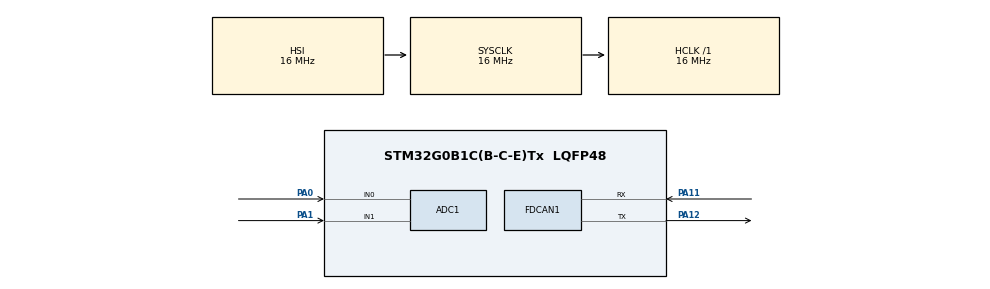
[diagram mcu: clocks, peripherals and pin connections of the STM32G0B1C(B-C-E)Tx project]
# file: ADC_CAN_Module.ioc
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ADC1.Channel-0\#ChannelRegularConversion=ADC_CHANNEL_0
ADC1.Channel-1\#ChannelRegularConversion=ADC_CHANNEL_1
ADC1.NbrOfConversion=2
ADC1.NbrOfConversionFlag=1
ADC1.Rank-0\#ChannelRegularConversion=1
ADC1.Rank-1\#ChannelRegularConversion=2
ADC1.SamplingTime-0\#ChannelRegularConversion=ADC_SAMPLINGTIME_COMMON_1
ADC1.SamplingTime-1\#ChannelRegularConversion=ADC_SAMPLINGTIME_COMMON_1
ADC1.SamplingTimeCommon1=ADC_SAMPLETIME_160CYCLES_5
ADC1.SamplingTimeCommon2=ADC_SAMPLETIME_160CYCLES_5
ADC1.SelectedChannel=ADC_CHANNEL_0|ADC_CHANNEL_1
ADC1.master=1
FDCAN1.CalculateBaudRateNominal=1000000
FDCAN1.CalculateTimeBitNominal=1000
FDCAN1.CalculateTimeQuantumNominal=62.5
FDCAN1.NominalPrescaler=1
FDCAN1.NominalTimeSeg1=11
FDCAN1.NominalTimeSeg2=4
FDCAN1.StdFiltersNbr=1
Mcu.Family=STM32G0
Mcu.Name=STM32G0B1C(B-C-E)Tx
Mcu.Package=LQFP48
NVIC.ADC1_COMP_IRQn=true\:0\:0\:false\:false\:true\:true\:true\:true
PA0.Mode=IN0
PA0.Signal=ADC1_IN0
PA1.Mode=IN1
PA1.Signal=ADC1_IN1
PA11\ [PA9].Mode=FDCAN_Activate
PA11\ [PA9].Signal=FDCAN1_RX
PA12\ [PA10].Mode=FDCAN_Activate
PA12\ [PA10].Signal=FDCAN1_TX
ProjectManager.HeapSize=0x200
ProjectManager.StackSize=0x400
ProjectManager.TargetToolchain=STM32CubeIDE
RCC.AHBFreq_Value=16000000
RCC.CortexFreq_Value=16000000
RCC.EXTERNAL_CLOCK_VALUE=48000
RCC.HCLKFreq_Value=16000000
RCC.HSE_VALUE=8000000
RCC.HSI48_VALUE=48000000
RCC.HSI_VALUE=16000000
RCC.LSE_VALUE=32768
RCC.SYSCLKFreq_VALUE=16000000
RCC.USBFreq_Value=48000000
RCC.VCOOutputFreq_Value=128000000
VP_SYS_VS_DBSignals.Mode=DisableDeadBatterySignals
board=custom

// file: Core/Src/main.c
/* USER CODE BEGIN Header */
/**
  ******************************************************************************
  * @file           : main.c
  * @brief          : Main program body
  ******************************************************************************
  * @attention
  *
  * Copyright (c) 2026 STMicroelectronics.
  * All rights reserved.
  *
  * This software is licensed under terms that can be found in the LICENSE file
  * in the root directory of this software component.
  * If no LICENSE file comes with this software, it is provided AS-IS.
  *
  ******************************************************************************
  */
/* USER CODE END Header */
#include "main.h"
#include "adc.h"
#include "fdcan.h"
#include "gpio.h"

/* USER CODE BEGIN Includes */
#include <stdbool.h>
/* USER CODE END Includes */

void SystemClock_Config(void);

/* USER CODE BEGIN 0 */
//Vin = Vadc * (R1+R2)/R2
uint16_t converReadingsToDVoltage(uint32_t value){
	float digitalValue = 0;
	digitalValue = (value/4095.0f)* 3.3f * 5.7f;
	digitalValue *= 1000;
	return (uint16_t)digitalValue;

}

uint8_t getHighByte(uint16_t value){
	uint8_t byteHigh = 0;
	byteHigh = (value >> 8);
	return byteHigh;
}
uint8_t getLowByte(uint16_t value){
	uint8_t byteLow = 0;
	byteLow = (value & 0xFF);
	return byteLow;
}
/* USER CODE END 0 */

int main(void)
{

  /* MCU Configuration--------------------------------------------------------*/

  /* Reset of all peripherals, Initializes the Flash interface and the Systick. */
  HAL_Init();

  /* Configure the system clock */
  SystemClock_Config();

  /* Initialize all configured peripherals */
  MX_GPIO_Init();
  MX_ADC1_Init();
  MX_FDCAN1_Init();
  /* USER CODE BEGIN 2 */
  FDCAN_FilterTypeDef filter = {0};
  filter.IdType = FDCAN_STANDARD_ID;
  filter.FilterIndex = 0;
  filter.FilterType = FDCAN_FILTER_MASK;
  filter.FilterConfig = FDCAN_FILTER_TO_RXFIFO0;
  filter.FilterID1 = 0x000;
  filter.FilterID2 = 0x000;

  if(HAL_FDCAN_ConfigFilter(&hfdcan1, &filter) != HAL_OK){
	  Error_Handler();
  }
  HAL_StatusTypeDef status;
  status = HAL_FDCAN_Start(&hfdcan1);

  if(status != HAL_OK){
	  Error_Handler();
  }
  	uint32_t adc_raw1 = 0;
    uint32_t adc_raw2 = 0;
    int errorCounter = 0;
  /* USER CODE END 2 */

  /* Infinite loop */
  while (1)
  {

    /* USER CODE BEGIN 3 */
	  HAL_StatusTypeDef reading1 = HAL_ERROR;
	  HAL_StatusTypeDef reading2 = HAL_ERROR;
	  bool measurementsCorrect = false;
	  if(HAL_ADC_Start(&hadc1) == HAL_OK){
		  reading1 = HAL_ADC_PollForConversion(&hadc1, 10) ;
		  if(reading1 == HAL_OK){
			  adc_raw1 = HAL_ADC_GetValue(&hadc1);
		  }
		  reading2 = HAL_ADC_PollForConversion(&hadc1, 10);
		  if(reading2 == HAL_OK){
			  adc_raw2 = HAL_ADC_GetValue(&hadc1);
		  }
		  HAL_ADC_Stop(&hadc1);
		  if(reading1 == HAL_OK && reading2 == HAL_OK){
			  measurementsCorrect = true;
		  }
	  }

	  if(measurementsCorrect){
		  uint16_t adc_digital1 = converReadingsToDVoltage(adc_raw1);
		  uint16_t adc_digital2 = converReadingsToDVoltage(adc_raw2);

		  uint8_t byte_low1 = getLowByte(adc_digital1);
		  uint8_t byte_high1 = getHighByte(adc_digital1);

		  uint8_t byte_low2 = getLowByte(adc_digital2);
		  uint8_t byte_high2 = getHighByte(adc_digital2);

		  uint8_t txData[4];
		  	  txData[0] = byte_high1;
		  	  txData[1] = byte_low1;
		  	  txData[2] = byte_high2;
		  	  txData[3] = byte_low2;

		  	  FDCAN_TxHeaderTypeDef frame;
		  	  frame.Identifier = 0x123;
		  	  frame.IdType = FDCAN_STANDARD_ID;
		  	  frame.DataLength = FDCAN_DLC_BYTES_4;
		  	  frame.TxFrameType = FDCAN_DATA_FRAME;
		  	  frame.ErrorStateIndicator = FDCAN_ESI_ACTIVE;
		  	  frame.BitRateSwitch = FDCAN_BRS_OFF;
		  	  frame.FDFormat = FDCAN_CLASSIC_CAN;
		  	  frame.TxEventFifoControl = FDCAN_NO_TX_EVENTS;
		  	  frame.MessageMarker = 0;

		  	  if(HAL_FDCAN_AddMessageToTxFifoQ(&hfdcan1,&frame, txData) != HAL_OK){
		  		  //Error sending frame to CAN.
		  		  errorCounter++;

		  	  }
	  }

	  HAL_Delay(10);

  }
  /* USER CODE END 3 */
}

void SystemClock_Config(void)
{
  RCC_OscInitTypeDef RCC_OscInitStruct = {0};
  RCC_ClkInitTypeDef RCC_ClkInitStruct = {0};

  /** Configure the main internal regulator output voltage
  */
  HAL_PWREx_ControlVoltageScaling(PWR_REGULATOR_VOLTAGE_SCALE1);

  /** Initializes the RCC Oscillators according to the specified parameters
  * in the RCC_OscInitTypeDef structure.
  */
  RCC_OscInitStruct.OscillatorType = RCC_OSCILLATORTYPE_HSI;
  RCC_OscInitStruct.HSIState = RCC_HSI_ON;
  RCC_OscInitStruct.HSIDiv = RCC_HSI_DIV1;
  RCC_OscInitStruct.HSICalibrationValue = RCC_HSICALIBRATION_DEFAULT;
  RCC_OscInitStruct.PLL.PLLState = RCC_PLL_NONE;
  if (HAL_RCC_OscConfig(&RCC_OscInitStruct) != HAL_OK)
  {
    Error_Handler();
  }

  /** Initializes the CPU, AHB and APB buses clocks
  */
  RCC_ClkInitStruct.ClockType = RCC_CLOCKTYPE_HCLK|RCC_CLOCKTYPE_SYSCLK
                              |RCC_CLOCKTYPE_PCLK1;
  RCC_ClkInitStruct.SYSCLKSource = RCC_SYSCLKSOURCE_HSI;
  RCC_ClkInitStruct.AHBCLKDivider = RCC_SYSCLK_DIV1;
  RCC_ClkInitStruct.APB1CLKDivider = RCC_HCLK_DIV1;

  if (HAL_RCC_ClockConfig(&RCC_ClkInitStruct, FLASH_LATENCY_0) != HAL_OK)
  {
    Error_Handler();
  }
}

void Error_Handler(void)
{
  __disable_irq();
  while (1)
  {
  }
}
